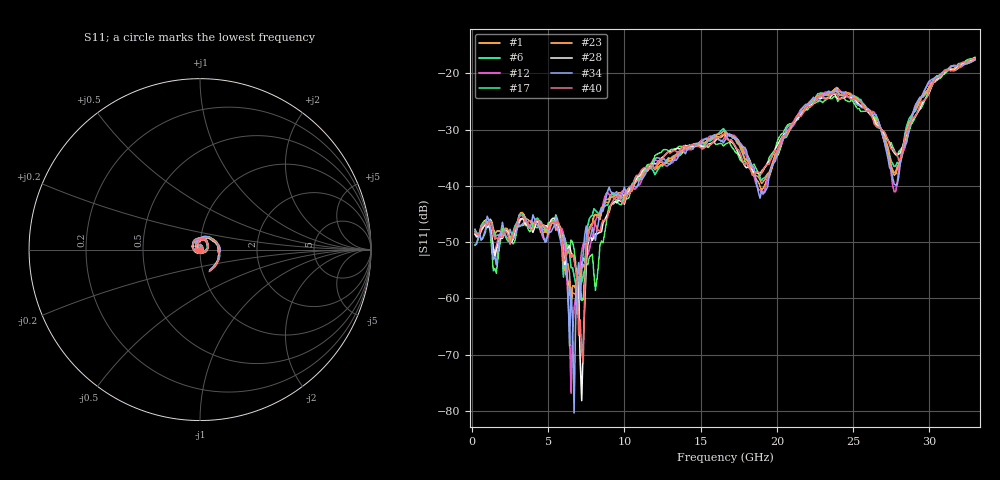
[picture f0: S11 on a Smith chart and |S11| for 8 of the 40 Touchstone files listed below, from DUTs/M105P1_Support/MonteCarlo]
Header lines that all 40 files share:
# GHZ S RI R 50
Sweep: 200 MHz to 33 GHz
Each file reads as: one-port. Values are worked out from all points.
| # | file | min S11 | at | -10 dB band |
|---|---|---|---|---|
| 1 | M105P1_3.s2p | -62.6 dB | 6.9 GHz | over 32.8 GHz wide |
| 2 | M105P1_6.s2p | -84.0 dB | 7.2 GHz | over 32.8 GHz wide |
| 3 | M105P1_7.s2p | -65.1 dB | 6.9 GHz | over 32.8 GHz wide |
| 4 | M105P1_8.s2p | -65.2 dB | 6.9 GHz | over 32.8 GHz wide |
| 5 | M105P1_9.s2p | -78.9 dB | 7.1 GHz | over 32.8 GHz wide |
| 6 | M105P1_13.s2p | -62.8 dB | 7 GHz | over 32.8 GHz wide |
| 7 | M105P1_14.s2p | -69.3 dB | 6.5 GHz | over 32.8 GHz wide |
| 8 | M105P1_16.s2p | -62.1 dB | 6.9 GHz | over 32.8 GHz wide |
| 9 | M105P1_17.s2p | -57.5 dB | 6.9 GHz | over 32.8 GHz wide |
| 10 | M105P1_18.s2p | -64.9 dB | 6.8 GHz | over 32.8 GHz wide |
| 11 | M105P1_19.s2p | -63.6 dB | 6.3 GHz | over 32.8 GHz wide |
| 12 | M105P1_22.s2p | -76.9 dB | 6.5 GHz | over 32.8 GHz wide |
| 13 | M105P1_24.s2p | -63.0 dB | 6.4 GHz | over 32.8 GHz wide |
| 14 | M105P1_25.s2p | -65.4 dB | 6.8 GHz | over 32.8 GHz wide |
| 15 | M105P1_26.s2p | -66.6 dB | 7.2 GHz | over 32.8 GHz wide |
| 16 | M105P1_27.s2p | -62.4 dB | 6.9 GHz | over 32.8 GHz wide |
| 17 | M105P1_29.s2p | -60.4 dB | 7.2 GHz | over 32.8 GHz wide |
| 18 | M105P1_31.s2p | -72.8 dB | 5.9 GHz | over 32.8 GHz wide |
| 19 | M105P1_32.s2p | -71.0 dB | 7.2 GHz | over 32.8 GHz wide |
| 20 | M105P1_33.s2p | -66.0 dB | 7 GHz | over 32.8 GHz wide |
| 21 | M105P1_35.s2p | -68.5 dB | 6.5 GHz | over 32.8 GHz wide |
| 22 | M105P1_36.s2p | -65.2 dB | 7.3 GHz | over 32.8 GHz wide |
| 23 | M105P1_38.s2p | -62.8 dB | 6.9 GHz | over 32.8 GHz wide |
| 24 | M105P1_40.s2p | -71.3 dB | 6.8 GHz | over 32.8 GHz wide |
| 25 | M105P1_41.s2p | -77.1 dB | 6.8 GHz | over 32.8 GHz wide |
| 26 | M105P1_42.s2p | -63.8 dB | 6.8 GHz | over 32.8 GHz wide |
| 27 | M105P1_44.s2p | -67.6 dB | 7.1 GHz | over 32.8 GHz wide |
| 28 | M105P1_45.s2p | -78.2 dB | 7.2 GHz | over 32.8 GHz wide |
| 29 | M105P1_47.s2p | -71.2 dB | 7.1 GHz | over 32.8 GHz wide |
| 30 | M105P1_50.s2p | -75.2 dB | 7.2 GHz | over 32.8 GHz wide |
| 31 | M105P1_51.s2p | -67.8 dB | 6.5 GHz | over 32.8 GHz wide |
| 32 | M105P1_53.s2p | -64.3 dB | 6.6 GHz | over 32.8 GHz wide |
| 33 | M105P1_54.s2p | -72.6 dB | 6.7 GHz | over 32.8 GHz wide |
| 34 | M105P1_56.s2p | -80.4 dB | 6.7 GHz | over 32.8 GHz wide |
| 35 | M105P1_57.s2p | -70.6 dB | 6.5 GHz | over 32.8 GHz wide |
| 36 | M105P1_58.s2p | -71.7 dB | 7.2 GHz | over 32.8 GHz wide |
| 37 | M105P1_62.s2p | -68.3 dB | 6.9 GHz | over 32.8 GHz wide |
| 38 | M105P1_65.s2p | -62.9 dB | 6.8 GHz | over 32.8 GHz wide |
| 39 | M105P1_66.s2p | -63.4 dB | 7.1 GHz | over 32.8 GHz wide |
| 40 | M105P1_67.s2p | -71.5 dB | 7.3 GHz | over 32.8 GHz wide |
